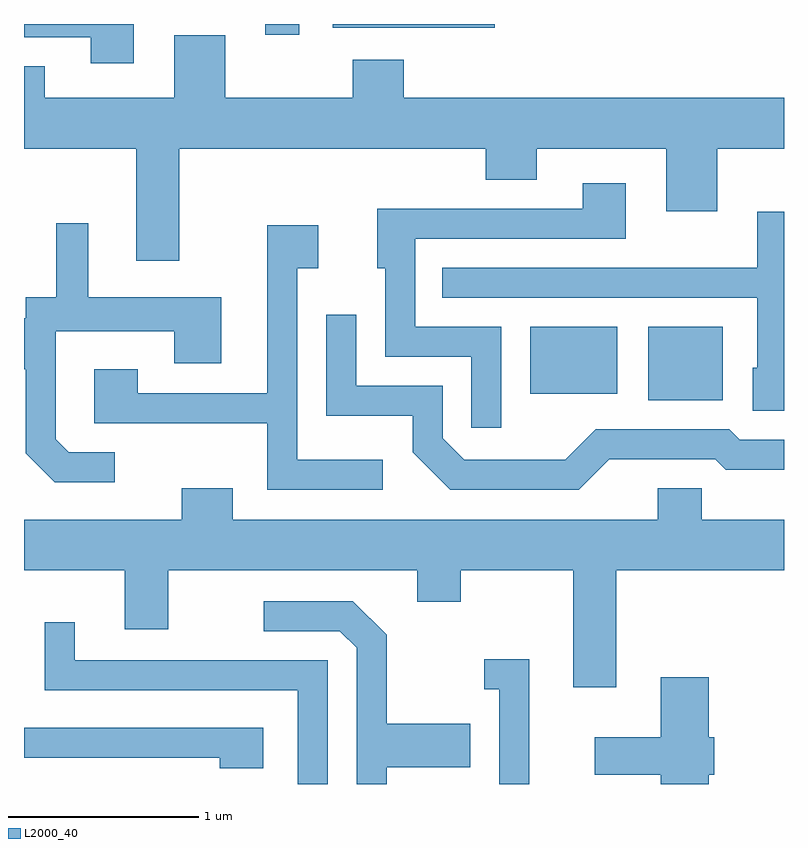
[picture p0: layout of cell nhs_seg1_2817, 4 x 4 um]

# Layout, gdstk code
import gdstk
lib = gdstk.Library(unit=1e-6, precision=1e-09)
def R(c, l, rs):  # rectangles x0, y0, x1, y1
    for r in rs: c.add(gdstk.rectangle(r[:2], r[2:], *l))
def P(c, l, *ps):  # polygons
    for p in ps: c.add(gdstk.Polygon(p, *l))
L2000_40 = (2000, 40)

nhs_seg1_2817 = lib.new_cell('nhs_seg1_2817')
R(nhs_seg1_2817, L2000_40, [(272.896,973.731,273.289,974.119), (272.276,973.766,272.734,974.119), (270.881,975.656,271.059,975.712), (271.236,975.691,272.088,975.712)])
P(nhs_seg1_2817, L2000_40, [(270.189,975.712),(269.611,975.712),(269.611,975.641),(269.961,975.641),(269.961,975.506),(270.189,975.506)],
  [(270.429,975.056),(272.041,975.056),(272.041,974.891),(272.309,974.891),(272.309,975.056),(272.991,975.056),(272.991,974.726),(273.259,974.726),(273.259,975.056),(273.611,975.056),(273.611,975.324),(271.609,975.324),(271.609,975.524),(271.341,975.524),(271.341,975.324),(270.669,975.324),(270.669,975.654),(270.401,975.654),(270.401,975.324),(269.719,975.324),(269.719,975.489),(269.611,975.489),(269.611,975.056),(270.201,975.056),(270.201,974.466),(270.429,974.466)],
  [(272.124,974.119),(271.669,974.119),(271.669,974.581),(272.779,974.581),(272.779,974.874),(272.551,974.874),(272.551,974.739),(271.471,974.739),(271.471,974.426),(271.511,974.426),(271.511,973.961),(271.966,973.961),(271.966,973.588),(272.124,973.588)],
  [(273.611,974.724),(273.471,974.724),(273.471,974.429),(271.813,974.429),(271.813,974.271),(273.471,974.271),(273.471,973.904),(273.446,973.904),(273.446,973.676),(273.611,973.676)],
  [(270.088,973.459),(269.847,973.459),(269.779,973.527),(269.779,974.096),(270.401,974.096),(270.401,973.926),(270.649,973.926),(270.649,974.274),(269.949,974.274),(269.949,974.663),(269.781,974.663),(269.781,974.274),(269.621,974.274),(269.621,974.164),(269.611,974.164),(269.611,973.896),(269.621,973.896),(269.621,973.454),(269.774,973.301),(270.088,973.301)],
  [(271.498,973.419),(271.049,973.419),(271.049,974.426),(271.159,974.426),(271.159,974.654),(270.891,974.654),(270.891,973.769),(270.209,973.769),(270.209,973.894),(269.981,973.894),(269.981,973.611),(270.891,973.611),(270.891,973.261),(271.498,973.261)],
  [(272.692,973.421),(273.249,973.421),(273.304,973.366),(273.611,973.366),(273.611,973.524),(273.377,973.524),(273.322,973.579),(272.619,973.579),(272.459,973.419),(271.927,973.419),(271.814,973.532),(271.814,973.809),(271.359,973.809),(271.359,974.183),(271.201,974.183),(271.201,973.651),(271.656,973.651),(271.656,973.459),(271.854,973.261),(272.532,973.261)],
  [(272.729,972.836),(273.611,972.836),(273.611,973.104),(273.179,973.104),(273.179,973.269),(272.946,973.269),(272.946,973.104),(270.709,973.104),(270.709,973.269),(270.441,973.269),(270.441,973.104),(269.611,973.104),(269.611,972.836),(270.141,972.836),(270.141,972.526),(270.369,972.526),(270.369,972.836),(271.681,972.836),(271.681,972.671),(271.909,972.671),(271.909,972.836),(272.501,972.836),(272.501,972.221),(272.729,972.221)],
  [(271.519,971.801),(271.959,971.801),(271.959,972.029),(271.519,972.029),(271.519,972.497),(271.342,972.674),(270.873,972.674),(270.873,972.516),(271.274,972.516),(271.361,972.429),(271.361,971.712),(271.519,971.712)],
  [(271.209,972.364),(269.879,972.364),(269.879,972.563),(269.721,972.563),(269.721,972.206),(271.051,972.206),(271.051,971.712),(271.209,971.712)],
  [(272.269,972.369),(272.033,972.369),(272.033,972.211),(272.111,972.211),(272.111,971.712),(272.269,971.712)],
  [(273.214,971.761),(273.244,971.761),(273.244,971.959),(273.214,971.959),(273.214,972.274),(272.961,972.274),(272.961,971.959),(272.616,971.959),(272.616,971.761),(272.961,971.761),(272.961,971.712),(273.214,971.712)],
  [(270.869,972.009),(269.611,972.009),(269.611,971.851),(270.641,971.851),(270.641,971.796),(270.869,971.796)])

lib.write_gds('nhs_seg1_2817.gds')
